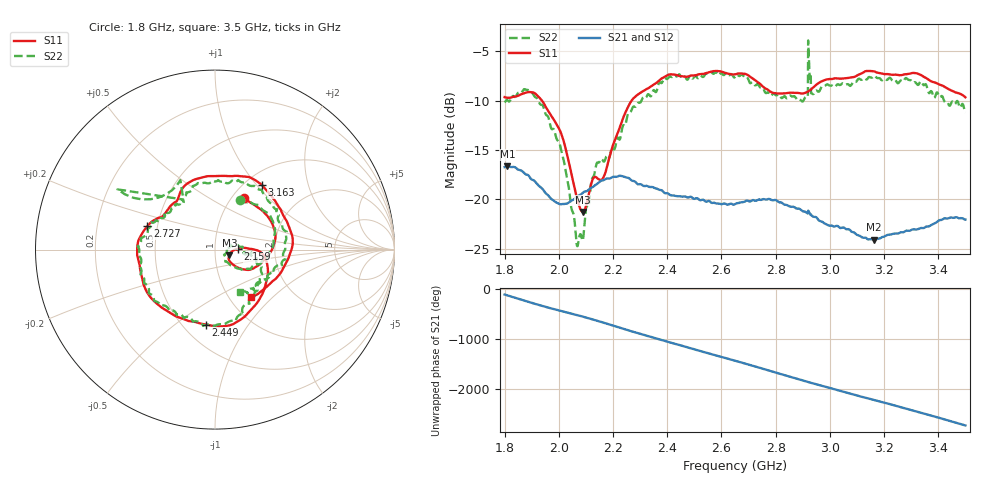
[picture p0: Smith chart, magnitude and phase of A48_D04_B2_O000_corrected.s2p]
! Created with skrf 1.9.0 (http://scikit-rf.org).
# Hz S RI R 50.0
!freq ReS11 ImS11 ReS21 ImS21 ReS12 ImS12 ReS22 ImS22
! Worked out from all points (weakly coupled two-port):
!   1601 points, 1.8 GHz to 3.5 GHz, reference 50 ohm
!   highest |S21| = -16.64 dB at 1.811 GHz (marker M1); lowest = -24.1 dB at 3.163 GHz (marker M2)
!   lowest |S11| = -21.3 dB at 2.089 GHz (marker M3), VSWR 1.19, Z = 58.6 - j3.8 ohm
!   |S11| at or under -10 dB: 1.938 GHz to 2.268 GHz (330.1 MHz wide, 15.7 % of centre)
!   |S22| runs from -24.7 to -3.9 dB; largest |S21 - S12| = 0.0024
!   S11 on the Smith chart (normalised r, x): 1.8 GHz: 1.13, +0.73; 2.159 GHz: 1.29, +0.00; 2.449 GHz: 0.64, -0.65; 2.727 GHz: 0.44, +0.14; 3.163 GHz: 1.18, +1.07; 3.5 GHz: 1.26, -0.74
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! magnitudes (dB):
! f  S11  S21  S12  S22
! 1.8 GHz  -9.6  -16.7  -16.7  -10.2
! 1.811 GHz  -9.7  -16.6  -16.6  -9.9
! 1.88 GHz  -9.2  -17.5  -17.5  -8.9
! 1.941 GHz  -10.1  -19.0  -19.0  -10.5
! 2.01 GHz  -13.4  -20.5  -20.4  -15.2
! 2.066 GHz  -19.7  -19.7  -19.7  -24.5
! 2.084 GHz  -21.2  -19.5  -19.4  -23.8
! 2.089 GHz  -21.3  -19.3  -19.3  -24.1
! 2.127 GHz  -17.8  -18.7  -18.7  -17.7
! 2.159 GHz  -18.0  -18.1  -18.0  -15.9
! 2.262 GHz  -10.3  -17.9  -17.9  -11.2
! 2.367 GHz  -8.0  -19.0  -18.9  -8.3
! 2.449 GHz  -7.5  -19.7  -19.7  -7.5
! 2.65 GHz  -7.3  -20.5  -20.4  -7.6
! 2.727 GHz  -8.0  -20.1  -20.1  -8.4
! 2.895 GHz  -9.3  -21.1  -21.1  -10.0
! 2.91 GHz  -9.2  -21.3  -21.2  -9.6
! 2.921 GHz  -9.0  -21.2  -21.1  -4.6
! 2.934 GHz  -8.8  -21.6  -21.6  -9.3
! 3.163 GHz  -7.0  -24.1  -24.0  -7.5
! 3.217 GHz  -7.3  -23.6  -23.5  -7.7
! 3.5 GHz  -9.7  -22.0  -22.0  -11.2
